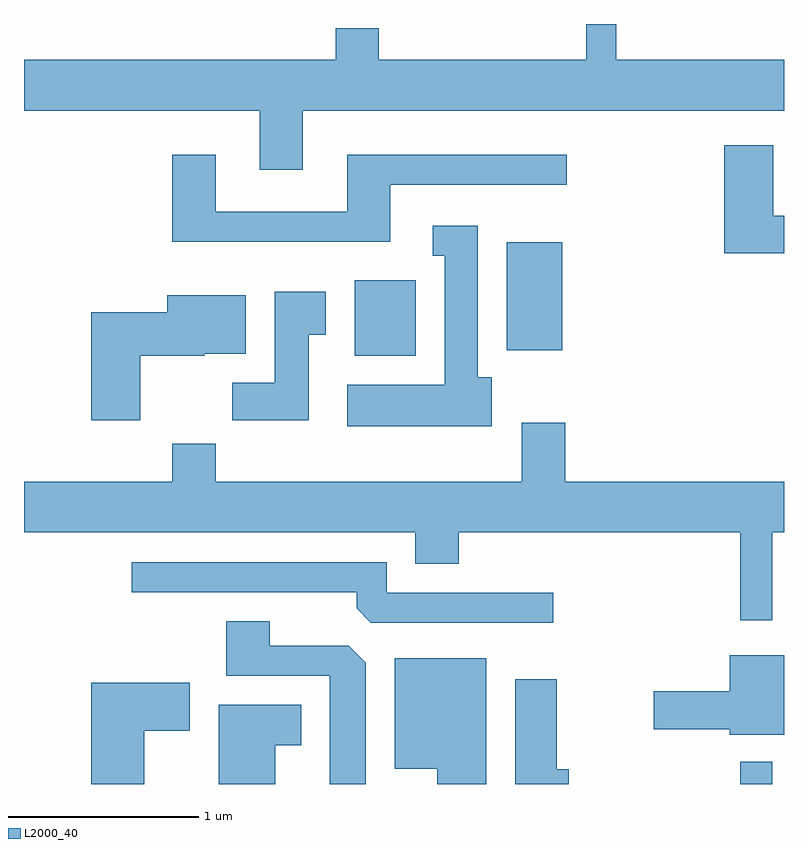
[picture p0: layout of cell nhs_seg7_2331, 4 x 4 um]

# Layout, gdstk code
import gdstk
lib = gdstk.Library(unit=1e-6, precision=1e-09)
def R(c, l, rs):  # rectangles x0, y0, x1, y1
    for r in rs: c.add(gdstk.rectangle(r[:2], r[2:], *l))
def P(c, l, *ps):  # polygons
    for p in ps: c.add(gdstk.Polygon(p, *l))
L2000_40 = (2000, 40)

nhs_seg7_2331 = lib.new_cell('nhs_seg7_2331')
R(nhs_seg7_2331, L2000_40, [(259.381,1786.252,259.549,1786.368), (257.351,1788.506,257.674,1788.904), (258.151,1788.536,258.444,1789.104)])
P(nhs_seg7_2331, L2000_40, [(257.079,1789.796),(259.611,1789.796),(259.611,1790.064),(258.729,1790.064),(258.729,1790.252),(258.571,1790.252),(258.571,1790.064),(257.479,1790.064),(257.479,1790.229),(257.251,1790.229),(257.251,1790.064),(255.611,1790.064),(255.611,1789.796),(256.851,1789.796),(256.851,1789.486),(257.079,1789.486)],
  [(259.611,1789.244),(259.554,1789.244),(259.554,1789.614),(259.296,1789.614),(259.296,1789.046),(259.611,1789.046)],
  [(257.539,1789.406),(258.468,1789.406),(258.468,1789.564),(257.311,1789.564),(257.311,1789.264),(256.619,1789.264),(256.619,1789.564),(256.391,1789.564),(256.391,1789.106),(257.539,1789.106)],
  [(258.074,1788.394),(257.999,1788.394),(257.999,1789.189),(257.763,1789.189),(257.763,1789.031),(257.826,1789.031),(257.826,1788.354),(257.311,1788.354),(257.311,1788.136),(258.074,1788.136)],
  [(257.109,1788.616),(257.199,1788.616),(257.199,1788.844),(256.931,1788.844),(256.931,1788.364),(256.706,1788.364),(256.706,1788.166),(257.109,1788.166)],
  [(256.224,1788.506),(256.56,1788.506),(256.56,1788.516),(256.779,1788.516),(256.779,1788.824),(256.366,1788.824),(256.366,1788.734),(255.966,1788.734),(255.966,1788.166),(256.224,1788.166)],
  [(259.549,1787.576),(259.611,1787.576),(259.611,1787.844),(258.459,1787.844),(258.459,1788.154),(258.231,1788.154),(258.231,1787.844),(256.619,1787.844),(256.619,1788.044),(256.391,1788.044),(256.391,1787.844),(255.611,1787.844),(255.611,1787.576),(257.671,1787.576),(257.671,1787.411),(257.899,1787.411),(257.899,1787.576),(259.381,1787.576),(259.381,1787.113),(259.549,1787.113)],
  [(258.397,1787.259),(257.519,1787.259),(257.519,1787.419),(256.178,1787.419),(256.178,1787.261),(257.361,1787.261),(257.361,1787.177),(257.437,1787.101),(258.397,1787.101)],
  [(257.409,1786.889),(257.319,1786.979),(256.904,1786.979),(256.904,1787.109),(256.676,1787.109),(256.676,1786.821),(257.221,1786.821),(257.221,1786.252),(257.409,1786.252)],
  [(259.611,1786.929),(259.326,1786.929),(259.326,1786.739),(258.926,1786.739),(258.926,1786.541),(259.326,1786.541),(259.326,1786.511),(259.611,1786.511)],
  [(258.044,1786.914),(257.561,1786.914),(257.561,1786.331),(257.786,1786.331),(257.786,1786.252),(258.044,1786.252)],
  [(258.479,1786.329),(258.414,1786.329),(258.414,1786.804),(258.196,1786.804),(258.196,1786.252),(258.479,1786.252)],
  [(256.244,1786.531),(256.484,1786.531),(256.484,1786.784),(255.966,1786.784),(255.966,1786.252),(256.244,1786.252)],
  [(256.934,1786.456),(257.069,1786.456),(257.069,1786.669),(256.636,1786.669),(256.636,1786.252),(256.934,1786.252)])

lib.write_gds('nhs_seg7_2331.gds')
